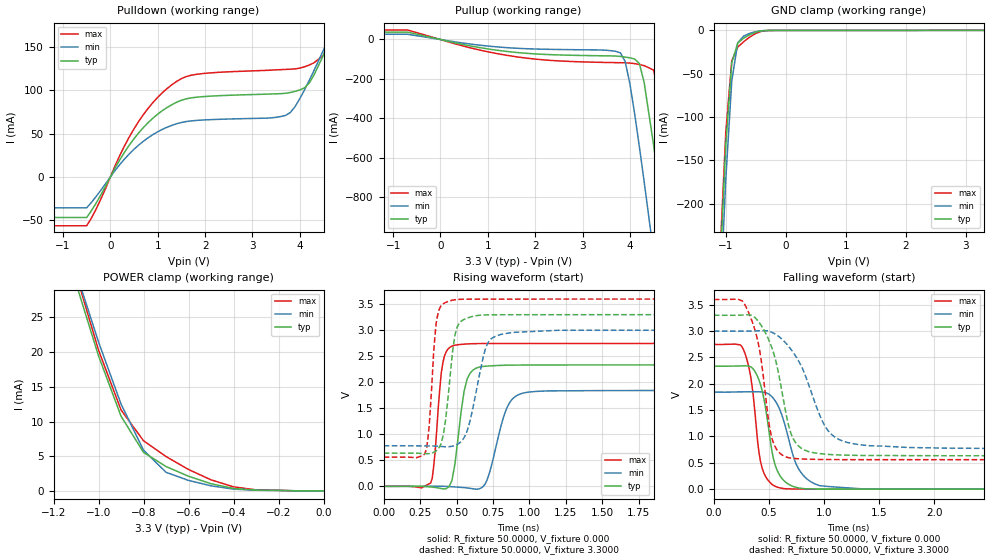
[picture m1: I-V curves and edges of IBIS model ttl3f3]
|   |  //|  _ _|_  _  |
|   | //_| /   |  /_\ |
|   |//  | \_  |  \_  | Corporation
|   A3P125/A3P060 Commercial IBIS Model
| IBIS file a3p_2_com.ibs created by s2ibis2
| North Carolina State University Electronics Research Laboratory  2005
[IBIS ver]   4.0
[File name]   adders.ibs
| Exported using Actel Designer Version: 11.9.0.4
[File Rev]   3.0
[Date]   Sat Nov 12 14:27:42 2022
[Source]  Partially Correlated.
   All data is based on Spice simulation. All performed at ACTEL.
   All V/I curves have been verified against bench measurements.
   Under TYP,MIN and MAX conditions except:
   - LVTTL,LVCMOS 2.5V,PCIx,Wide Range IOs
   Please refer to Actel website for future updates at www.actel.com
[Notes]   Actel ProASIC3 IBIS models for commercial operating conditions
   for A3P125 and A3P060 ONLY. Please refer to a3p_1_com.ibs for
   A3P1000, A3P600, A3P400 and A3P250 models and a3p_3_com.ibs
   for A3P030 models.
   The package parasitics of various package types are given.
   Uncomment the appropriate package.
[Disclaimer] This information is for board design considerations.
             Simulation based V/I curves contained in this model file are
             considered preliminary until verified against bench
             measurements.Maximum currents may vary from part to part but
             should not exceed maximum I/V curves provided in this model file.
[Copyright]  (c) 2009, Actel Corporation, All Rights Reserved.
| IBIS MODEL CHECKLIST
| Actel is dedicated to releasing quality IBIS models to customers.
| The following items have been
| verified for this IBIS model before release:
| 1)  Checked IBIS model by the golden parser ibischk4 [Complete]
| 2)  Ensured no errors reported by golden parser
|   for the IBIS model [Complete]
| 3)  Defined Vinl and Vinh or recievers [Complete]
| 4)  Defined Standard Load and Vmeas values for drivers [Complete]
| 5)  Defined overshoots for drivers and recievers [NA]
| 6)  Validated Ramp Values[Complete]
| 7)  Defined V-T Tables for all output drivers [Complete]
| 8)  Validated [Diff Pins] [NA]
| 9)  Verified Package Parasitics [Complete]
| 10) Defined Standard Load Parameters and Specifications
|   for waveforms [Complete]
| 11) Defined and Validate Pin mappings [Complete]
| 12) Verified Ccomp Value [Complete]
| 13) Visually Inspected I-V Curves and V-T Tables  [Complete]
| 14) Presented Typ/Min/Max Values in the correct order for
|   all tables and parameters [Complete]
| 15) Simulated all output models with standard load and
|   switching through Vmeas [Complete]
| 16) Simulated all reciever models  [Complete]
| 17) Validated Models selectors. [NA]
| 18) Visually inspected Spice and IBIS correlation for
|   a) Typical VT Curves [Complete]
|   b) Minimum VT Curves [Complete]
|   c) Maximum VT Curves [Complete]
| 19) Visually inspected Silicon and IBIS correlation
|   a) Typical IV Pull UP/ Pull Down Curves [Complete]
|   b) Minimum IV Pull UP/ Pull Down Curves [Complete]
|   c) Maximum IV Pull UP/ Pull Down Curves [Complete]
|   Component ProASIC3_II
[Component]   ProASIC3_II
[Manufacturer]   Actel Corporation
[Package]
R_pkg   345.00m   NA   NA   | A3P060-VQFP100
L_pkg   7.40nH   NA   NA   | A3P060-VQFP100
C_pkg   1.15pF   NA   NA   | A3P060-VQFP100
[Pin]  signal_name   model_name   R_pin   L_pin   C_pin
26   DataA   ttl3f3
27   Cin   ttl3f3
28   Sum2   ttl3f3
29   DataB   ttl3f3
30   Cout1   ttl3f3
31   Sum1   ttl3f3
32   Cout2   ttl3f3
| Models and submodels in the file (1): ttl3f3 (I/O)
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|   Model ttl3f3
[Model]   ttl3f3
Model_type   I/O
Polarity   Non-Inverting
Enable   Active-High
Vinl =   0.8000V
Vinh =   2.0000V
Vmeas =   1.4000V
Cref =  35.0000pF
C_comp   1.278pF   0.678pF   1.879pF
[Temperature Range]   25.0000   70.0000   0.000
[Voltage Range]   3.3000V   3.0000V   3.6000V
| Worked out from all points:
|   slope of the pulldown table from 0 to 0.495 V, typ, clamps not added: 11.3 ohm
|   slope of the pullup table from 0 to 0.495 V, typ, clamps not added: 18.7 ohm
|   GND clamp passes 1 mA (typ) near -0.43 V on its own axis
|   POWER clamp passes 1 mA (typ) near -0.49 V on its own axis
|   rising waveform, R_fixture 50.0000, V_fixture 0.000: 20-80 % time 64.9ps typ, 104ps min, 47.2ps max; typ from 0 V to 2.33 V
|   rising waveform, R_fixture 50.0000, V_fixture 3.3000: 20-80 % time 62.2ps typ, 100ps min, 42.9ps max; typ from 0.638 V to 3.3 V
|   falling waveform, R_fixture 50.0000, V_fixture 0.000: 20-80 % time 117ps typ, 169ps min, 92.7ps max; typ from 2.33 V to 0 V
|   falling waveform, R_fixture 50.0000, V_fixture 3.3000: 20-80 % time 172ps typ, 269ps min, 130ps max; typ from 3.3 V to 0.635 V
[Pulldown]
| voltage   I(typ)   I(min)   I(max)
-3.3V     -46.52mA   -35.44mA   -56.06mA
-500mV    -46.52mA   -35.44mA   -56.06mA
300mV     28.6mA     20.73mA    35.93mA
600mV     50.84mA    36.78mA    64.05mA
1V        72.27mA    51.99mA    91.61mA
1.5V      88.22mA    62.66mA    113.1mA
3.8V      97.14mA    74.13mA    123.9mA
4.2V      108.1mA    111.2mA    128.7mA
4.5V      140.3mA    146mA      140mA
4.7V      165.8mA    170.5mA    162.6mA
4.9V      193.2mA    196.1mA    191.2mA
6.6V      522.8mA    473.2mA    590.4mA
[Pullup]
| voltage   I(typ)   I(min)   I(max)
-3.3V     37.54mA    26.55mA    48.27mA
-700mV    37.54mA    26.55mA    48.27mA
1.5V      -63.33mA   -43mA      -84.18mA
3.8V      -85.91mA   -68.11mA   -117.9mA
4V        -93.31mA   -226.1mA   -119.6mA
4.2V      -122.3mA   -545.6mA   -127mA
4.3V      -218.1mA   -721.6mA   -132.6mA
4.5V      -536.1mA   -1.086A    -155.2mA
4.7V      -897.1mA   -1.459A    -385.6mA
4.9V      -1.271A    -1.838A    -735.5mA
5.1V      -1.652A    -2.221A    -1.108A
6.6V      -4.575A    -5.134A    -4.03A
[GND_clamp]
| voltage   I(typ)   I(min)   I(max)
-3.3V     -4.48A     -4.488A    -4.487A
-1.1V     -281.7mA   -323.5mA   -264.8mA
-1V       -133mA     -171.9mA   -117.8mA
-900mV    -37.43mA   -58.41mA   -35mA
-800mV    -14.43mA   -14.24mA   -19.24mA
-700mV    -8.905mA   -6.494mA   -12.96mA
-500mV    -2.016mA   -1.37mA    -3.491mA
-400mV    -464.1uA   -328uA     -927.1uA
-300mV    -83.43uA   -70.82uA   -143.1uA
3.3V      69.79uA    95.43uA    66.5uA
[POWER_clamp]
| voltage   I(typ)   I(min)   I(max)
-3.3V     316.5mA    300.6mA    334.1mA
-1.1V     29.93mA    31.52mA    31.25mA
-1V       19.47mA    21.47mA    20.3mA
-900mV    10.78mA    12.53mA    11.68mA
-800mV    5.559mA    5.873mA    7.233mA
-700mV    3.517mA    2.686mA    4.959mA
-600mV    2.118mA    1.513mA    3.089mA
-500mV    1.041mA    737.3uA    1.6mA
-400mV    356.2uA    260.7uA    587.3uA
-300mV    110.1uA    95.43uA    153uA
0V        0A         0A         0A
[Ramp]
| variable   typ   min   max
dV/dt_r 1.4002/1.0369e-10   1.1056/1.4603e-10   1.6480/9.8179e-11
dV/dt_f 1.5986/2.0723e-10   1.3369/3.1883e-10   1.8237/1.4340e-10
R_load = 50.0000
[Rising Waveform]
R_fixture = 50.0000
V_fixture = 0.000
V_fixture_min = 0.000
V_fixture_max = 0.000
| time   V(typ)   V(min)   V(max)
0s        285.3uV    337.5uV    256.3uV
322.4ps   -12.2mV    967.3uV    65.23mV
405.6ps   -48.02mV   1.052mV    2.367V
478.4ps   268.3mV    -9.876mV   2.706V
561.6ps   1.942V     -27.77mV   2.736V
655.2ps   2.292V     -47.99mV   2.744V
717.6ps   2.313V     188mV      2.746V
852.8ps   2.329V     1.554V     2.747V
967.2ps   2.332V     1.799V     2.747V
3.68ns    2.334V     1.843V     2.747V
[Rising Waveform]
R_fixture = 50.0000
V_fixture = 3.3000
V_fixture_min = 3.0000
V_fixture_max = 3.6000
| time   V(typ)   V(min)   V(max)
0s        638mV      779.6mV    561.1mV
280ps     628.7mV    777.1mV    619.2mV
312ps     629.5mV    776.3mV    1.153V
360ps     680.8mV    772.2mV    3.136V
408ps     975.5mV    763.3mV    3.509V
456ps     2.123V     764.8mV    3.567V
520ps     3.142V     833.8mV    3.595V
704ps     3.296V     2.691V     3.599V
800ps     3.299V     2.918V     3.599V
3.52ns    3.3V       3V         3.6V
[Falling Waveform]
R_fixture = 50.0000
V_fixture = 0.000
V_fixture_min = 0.000
V_fixture_max = 0.000
| time   V(typ)   V(min)   V(max)
0s        2.332V     1.841V     2.746V
268.8ps   2.339V     1.847V     2.65V
336ps     2.319V     1.849V     2.117V
403.2ps   2.106V     1.848V     807.8mV
432ps     1.922V     1.844V     452.2mV
528ps     716.7mV    1.752V     90.27mV
566.4ps   400.8mV    1.645V     44.99mV
768ps     24.3mV     389.9mV    2.598mV
960ps     3.164mV    66.29mV    556.6uV
3.6ns     0V         224.6nV    0V
[Falling Waveform]
R_fixture = 50.0000
V_fixture = 3.3000
V_fixture_min = 3.0000
V_fixture_max = 3.6000
| time   V(typ)   V(min)   V(max)
0s        3.299V     2.999V     3.599V
302.4ps   3.308V     3V         3.415V
403.2ps   3.186V     3.005V     2.777V
532.8ps   2.647V     2.97V      926.3mV
662.4ps   1.358V     2.751V     606.5mV
720ps     958.7mV    2.596V     585.3mV
792ps     779.3mV    2.341V     573.3mV
1.008ns   665.4mV    1.197V     562.6mV
1.181ns   646.6mV    905mV      560.5mV
3.84ns    634.6mV    770.9mV    559.5mV
